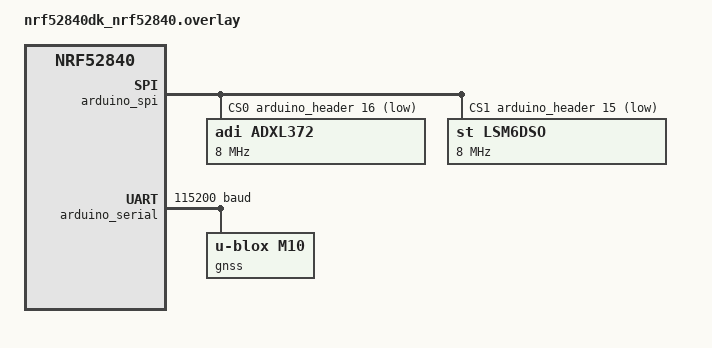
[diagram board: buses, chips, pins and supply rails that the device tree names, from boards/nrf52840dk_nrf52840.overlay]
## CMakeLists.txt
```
cmake_minimum_required(VERSION 3.20.0)
find_package(Zephyr REQUIRED HINTS $ENV{ZEPHYR_BASE})
project(pmd_tracker)

target_sources(app PRIVATE src/main.c lib/metrics/metrics.c)
target_include_directories(app PRIVATE lib/metrics)
```

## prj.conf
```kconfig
CONFIG_LOG=y
CONFIG_FPU=y
CONFIG_FPU_SHARING=y

# Sensors
CONFIG_SENSOR=y
CONFIG_SPI=y
CONFIG_ADXL372_MEASUREMENT_MODE=y
CONFIG_ADXL372_TRIGGER_NONE=y

# GNSS (u-blox M10 over UART, 10 Hz via fix-rate in the overlay)
CONFIG_GNSS=y
CONFIG_GNSS_REFERENCE_FRAME_WGS84=y

# Flash checkpoint
CONFIG_FLASH=y
CONFIG_FLASH_MAP=y
CONFIG_NVS=y

# BLE sync
CONFIG_BT=y
CONFIG_BT_PERIPHERAL=y
CONFIG_BT_DEVICE_NAME="PMD"
CONFIG_BT_L2CAP_TX_MTU=247
CONFIG_BT_BUF_ACL_RX_SIZE=251
```

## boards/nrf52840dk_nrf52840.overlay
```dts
/* nRF52840-DK bring-up wiring for the PMD sensors (stand-in for the custom board).
 * ADXL372 + LSM6DSO share the Arduino SPI header; MAX-M10S on the Arduino UART. */

&arduino_spi {
	status = "okay";
	cs-gpios = <&arduino_header 16 GPIO_ACTIVE_LOW>,  /* D10: ADXL372 */
		   <&arduino_header 15 GPIO_ACTIVE_LOW>;  /* D9: LSM6DSO */

	adxl372: adxl372@0 {
		compatible = "adi,adxl372";
		reg = <0>;
		spi-max-frequency = <8000000>;
		odr = <1>;  /* 800 Hz */
		bw = <2>;   /* 800 Hz anti-alias */
	};

	/* ponytail: on the bus but unused by the metrics yet; add when
	 * tackle orientation / step detection is wanted. */
	lsm6dso: lsm6dso@1 {
		compatible = "st,lsm6dso";
		reg = <1>;
		spi-max-frequency = <8000000>;
	};
};

&arduino_serial {
	status = "okay";
	current-speed = <115200>;

	gnss: gnss {
		compatible = "u-blox,m10";
		initial-baudrate = <9600>;
		fix-rate = <100>;  /* ms -> 10 Hz */
	};
};
```

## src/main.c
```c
/* PMD tracker: GNSS + high-g accel -> on-device match metrics,
 * checkpointed to flash and read over BLE by the companion app. */
#include <zephyr/kernel.h>
#include <zephyr/device.h>
#include <zephyr/drivers/gnss.h>
#include <zephyr/drivers/sensor.h>
#include <zephyr/drivers/flash.h>
#include <zephyr/fs/nvs.h>
#include <zephyr/storage/flash_map.h>
#include <zephyr/bluetooth/bluetooth.h>
#include <zephyr/bluetooth/gatt.h>
#include <zephyr/bluetooth/uuid.h>
#include <zephyr/logging/log.h>

#include "metrics.h"

LOG_MODULE_REGISTER(pmd, LOG_LEVEL_INF);

#define ACCEL_PERIOD_MS 2      /* ~500 Hz poll; ponytail: move to ADXL372 FIFO if hits are missed */
#define CHECKPOINT_MS   10000
#define NVS_SUMMARY_ID  1

static const struct device *const gnss = DEVICE_DT_GET(DT_NODELABEL(gnss));
static const struct device *const hg = DEVICE_DT_GET(DT_NODELABEL(adxl372));

static pmd_state st;
static K_MUTEX_DEFINE(st_lock);
static struct nvs_fs nvs;

/* ---- GNSS (10 Hz, set by fix-rate in the overlay) ---- */

static void on_gnss(const struct device *dev, const struct gnss_data *d)
{
	if (d->info.fix_status == GNSS_FIX_STATUS_NO_FIX) {
		return;
	}
	k_mutex_lock(&st_lock, K_FOREVER);
	pmd_gnss(&st, k_uptime_get_32(), d->nav_data.latitude / 1e9, d->nav_data.longitude / 1e9);
	k_mutex_unlock(&st_lock);
}
GNSS_DATA_CALLBACK_DEFINE(DEVICE_DT_GET(DT_NODELABEL(gnss)), on_gnss);

/* ---- High-g accel ---- */

static void accel_thread(void)
{
	struct sensor_value v[3];

	while (1) {
		if (sensor_sample_fetch(hg) == 0 &&
		    sensor_channel_get(hg, SENSOR_CHAN_ACCEL_XYZ, v) == 0) {
			k_mutex_lock(&st_lock, K_FOREVER);
			pmd_accel(&st, k_uptime_get_32(),
				  sensor_value_to_float(&v[0]) / SENSOR_G * 1e6f,
				  sensor_value_to_float(&v[1]) / SENSOR_G * 1e6f,
				  sensor_value_to_float(&v[2]) / SENSOR_G * 1e6f);
			k_mutex_unlock(&st_lock);
		}
		k_msleep(ACCEL_PERIOD_MS);
	}
}
K_THREAD_DEFINE(accel_tid, 1024, accel_thread, NULL, NULL, NULL, 5, 0, 0);

/* ---- BLE: one read (summary) and one write (reset) characteristic ---- */

#define PMD_UUID(n) BT_UUID_128_ENCODE(0x9d1e0000 + (n), 0x5a1b, 0x4c6e, 0x8f2d, 0x3b7a6c1e2f40)
static const struct bt_uuid_128 svc_uuid = BT_UUID_INIT_128(PMD_UUID(0));
static const struct bt_uuid_128 sum_uuid = BT_UUID_INIT_128(PMD_UUID(1));
static const struct bt_uuid_128 rst_uuid = BT_UUID_INIT_128(PMD_UUID(2));

static ssize_t read_summary(struct bt_conn *c, const struct bt_gatt_attr *a, void *buf,
			    uint16_t len, uint16_t off)
{
	pmd_summary snap;

	k_mutex_lock(&st_lock, K_FOREVER);
	snap = st.sum;
	k_mutex_unlock(&st_lock);
	return bt_gatt_attr_read(c, a, buf, len, off, &snap, sizeof(snap));
}

static ssize_t write_reset(struct bt_conn *c, const struct bt_gatt_attr *a, const void *buf,
			   uint16_t len, uint16_t off, uint8_t flags)
{
	pmd_config cfg = pmd_default_config();

	k_mutex_lock(&st_lock, K_FOREVER);
	pmd_init(&st, &cfg);
	k_mutex_unlock(&st_lock);
	nvs_delete(&nvs, NVS_SUMMARY_ID);
	return len;
}

BT_GATT_SERVICE_DEFINE(pmd_svc,
	BT_GATT_PRIMARY_SERVICE(&svc_uuid),
	BT_GATT_CHARACTERISTIC(&sum_uuid.uuid, BT_GATT_CHRC_READ, BT_GATT_PERM_READ,
			       read_summary, NULL, NULL),
	BT_GATT_CHARACTERISTIC(&rst_uuid.uuid, BT_GATT_CHRC_WRITE, BT_GATT_PERM_WRITE,
			       NULL, write_reset, NULL));

static const struct bt_data ad[] = {
	BT_DATA_BYTES(BT_DATA_FLAGS, BT_LE_AD_GENERAL | BT_LE_AD_NO_BREDR),
	BT_DATA_BYTES(BT_DATA_UUID128_ALL, PMD_UUID(0)),
};
static const struct bt_data sd[] = {
	BT_DATA(BT_DATA_NAME_COMPLETE, CONFIG_BT_DEVICE_NAME, sizeof(CONFIG_BT_DEVICE_NAME) - 1),
};

/* ---- Flash checkpoint: survives a battery pull mid-match ---- */

static int nvs_setup(void)
{
	struct flash_pages_info info;

	nvs.flash_device = FIXED_PARTITION_DEVICE(storage_partition);
	nvs.offset = FIXED_PARTITION_OFFSET(storage_partition);
	if (flash_get_page_info_by_offs(nvs.flash_device, nvs.offset, &info)) {
		return -EIO;
	}
	nvs.sector_size = info.size;
	nvs.sector_count = FIXED_PARTITION_SIZE(storage_partition) / info.size;
	return nvs_mount(&nvs);
}

int main(void)
{
	pmd_config cfg = pmd_default_config();

	pmd_init(&st, &cfg);
	if (!device_is_ready(gnss) || !device_is_ready(hg)) {
		LOG_ERR("sensor not ready");
		return 0;
	}
	if (nvs_setup() == 0 &&
	    nvs_read(&nvs, NVS_SUMMARY_ID, &st.sum, sizeof(st.sum)) == sizeof(st.sum)) {
		/* ponytail: restores totals only; the next fix re-seeds position */
		LOG_INF("restored session: %u m", (unsigned)st.sum.distance_m);
	}
	if (bt_enable(NULL) == 0) {
		bt_le_adv_start(BT_LE_ADV_CONN_FAST_1, ad, ARRAY_SIZE(ad), sd, ARRAY_SIZE(sd));
	}

	while (1) {
		k_msleep(CHECKPOINT_MS);
		pmd_summary snap;

		k_mutex_lock(&st_lock, K_FOREVER);
		snap = st.sum;
		k_mutex_unlock(&st_lock);
		nvs_write(&nvs, NVS_SUMMARY_ID, &snap, sizeof(snap)); /* NVS skips unchanged data */
	}
}
```
